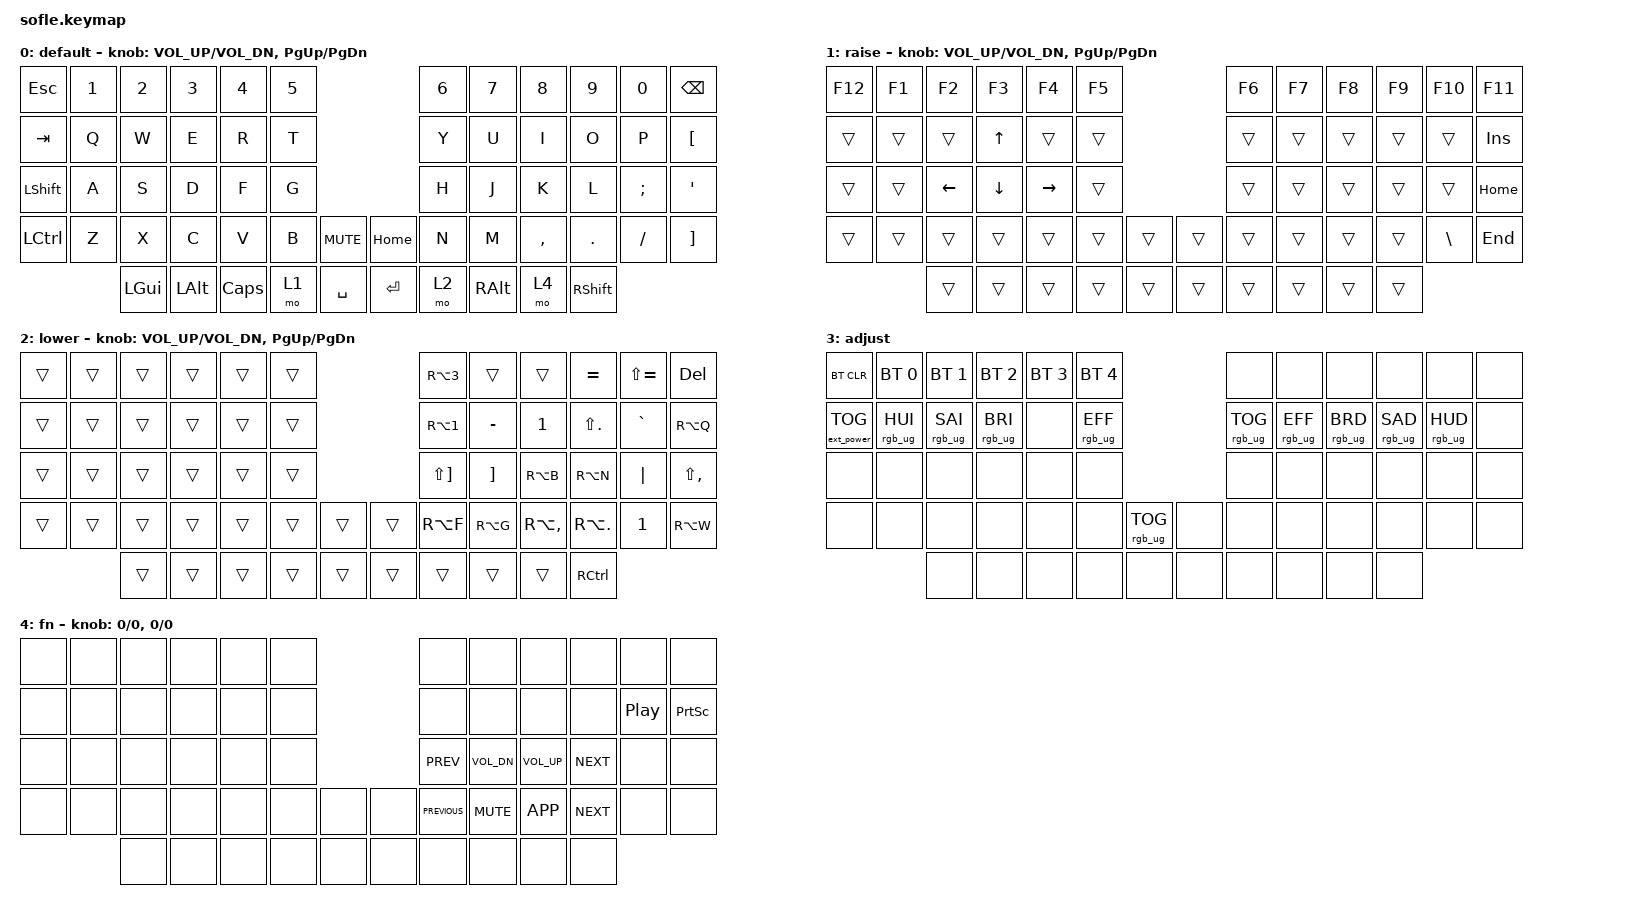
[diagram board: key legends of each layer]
/*
 * Copyright (c) 2020 The ZMK Contributors
 *
 * SPDX-License-Identifier: MIT
 */

#include <behaviors.dtsi>
#include <dt-bindings/zmk/bt.h>
#include <dt-bindings/zmk/ext_power.h>
#include <dt-bindings/zmk/keys.h>
#include <dt-bindings/zmk/rgb.h>

#define BASE 0
#define LOWER 1
#define RAISE 2
#define ADJUST 3
#define FN 4


#if !IS_ENABLED(CONFIG_SHIELD_SOFLE_DONGLE)
&kscan0 {
    debounce-press-ms = <8>;
    debounce-release-ms = <8>;
};
#endif

/ {
    // Activate ADJUST layer by pressing raise and lower

    conditional_layers {
        compatible = "zmk,conditional-layers";

        adjust_layer {
            if-layers = <1 2>;
            then-layer = <3>;
        };
    };

    keymap {
        compatible = "zmk,keymap";

        default_layer {
            display-name = "default";
            bindings = <
&kp ESC    &kp N1   &kp N2    &kp N3    &kp N4     &kp N5                           &kp N6  &kp N7         &kp N8     &kp N9             &kp N0    &kp BSPC
&kp TAB    &kp Q    &kp W     &kp E     &kp R      &kp T                            &kp Y   &kp U          &kp I      &kp O              &kp P     &kp LBKT
&kp LSHFT  &kp A    &kp S     &kp D     &kp F      &kp G                            &kp H   &kp J          &kp K      &kp L              &kp SEMI  &kp SINGLE_QUOTE
&kp LCTRL  &kp Z    &kp X     &kp C     &kp V      &kp B   &kp C_MUTE    &kp HOME   &kp N   &kp M          &kp COMMA  &kp DOT            &kp FSLH  &kp RBKT
                    &kp LGUI  &kp LALT  &kp CAPS   &mo 1   &kp SPACE     &kp ENTER  &mo 2   &kp RIGHT_ALT  &mo 4      &kp RSHFT
            >;  

            sensor-bindings = <&inc_dec_kp C_VOL_UP C_VOL_DN &inc_dec_kp PG_UP PG_DN>;
        };

        raise_layer {
            display-name = "raise";
            bindings = <
&kp F12    &kp F1     &kp F2     &kp F3     &kp F4     &kp F5                           &kp F6     &kp F7     &kp F8     &kp F9     &kp F10    &kp F11
&trans     &trans     &trans     &kp UP     &trans     &trans                           &trans     &trans     &trans     &trans     &trans     &kp INS
&trans     &trans     &kp LEFT   &kp DOWN   &kp RIGHT  &trans                           &trans     &trans     &trans     &trans     &trans     &kp HOME
&trans     &trans     &trans     &trans     &trans     &trans       &trans    &trans    &trans     &trans     &trans     &trans     &kp BSLH   &kp END
                      &trans     &trans     &trans     &trans       &trans    &trans    &trans     &trans     &trans     &trans
            >;

            sensor-bindings = <&inc_dec_kp C_VOL_UP C_VOL_DN &inc_dec_kp PG_UP PG_DN>;
        };

        lower_layer {
            display-name = "lower";
            bindings = <
&trans    &trans   &trans   &trans      &trans      &trans                    &kp RA(NUMBER_3)  &trans          &trans            &kp EQUAL    &kp LS(EQUAL)    &kp DEL
&trans    &trans   &trans   &trans      &trans      &trans                    &kp RA(N1)        &kp MINUS       &kp NUMBER_1      &kp LS(DOT)  &kp GRAVE        &kp RA(Q)
&trans    &trans   &trans   &trans      &trans      &trans                    &kp LS(RBKT)      &kp RBKT        &kp RA(B)         &kp RA(N)    &kp PIPE         &kp LS(COMMA)
&trans    &trans   &trans   &trans      &trans      &trans  &trans    &trans  &kp RA(F)         &kp RA(G)       &kp RA(COMMA)     &kp RA(DOT)  &kp NUMBER_1     &kp RA(W)
                   &trans   &trans      &trans      &trans  &trans    &trans  &trans            &trans          &trans            &kp RCTRL
            >;

            sensor-bindings = <&inc_dec_kp C_VOL_UP C_VOL_DN &inc_dec_kp PG_UP PG_DN>;
        };

        adjust_layer {
            display-name = "adjust";
            bindings = <
&bt BT_CLR         &bt BT_SEL 0     &bt BT_SEL 1    &bt BT_SEL 2    &bt BT_SEL 3  &bt BT_SEL 4                                  &none   &none  &none  &none  &none  &none
&ext_power EP_TOG  &rgb_ug RGB_HUI  &rgb_ug RGB_SAI &rgb_ug RGB_BRI &none         &rgb_ug RGB_EFF                               &rgb_ug RGB_TOG &rgb_ug RGB_EFF &rgb_ug RGB_BRD &rgb_ug RGB_SAD &rgb_ug RGB_HUD &none
&none              &none            &none           &none           &none         &none                                         &none   &none  &none  &none  &none  &none
&none              &none            &none           &none           &none         &none             &rgb_ug RGB_TOG     &none   &none   &none  &none  &none  &none  &none
                                    &none           &none           &none         &none             &none               &none   &none   &none  &none  &none
            >;
        };

        fn {
            bindings = <
&none  &none  &none  &none  &none  &none                  &none            &none         &none         &none       &none             &none
&none  &none  &none  &none  &none  &none                  &none            &none         &none         &none       &kp C_PLAY_PAUSE  &kp PRINTSCREEN
&none  &none  &none  &none  &none  &none                  &kp C_PREV       &kp C_VOL_DN  &kp C_VOL_UP  &kp C_NEXT  &none             &none
&none  &none  &none  &none  &none  &none  &none    &none  &kp K_PREVIOUS   &kp C_MUTE    &kp K_APP     &kp K_NEXT  &none             &none
              &none  &none  &none  &none  &none    &none  &none            &none         &none         &none
            >;

            sensor-bindings = <&inc_dec_kp 0 0>, <&inc_dec_kp 0 0>;
        };

    };
};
